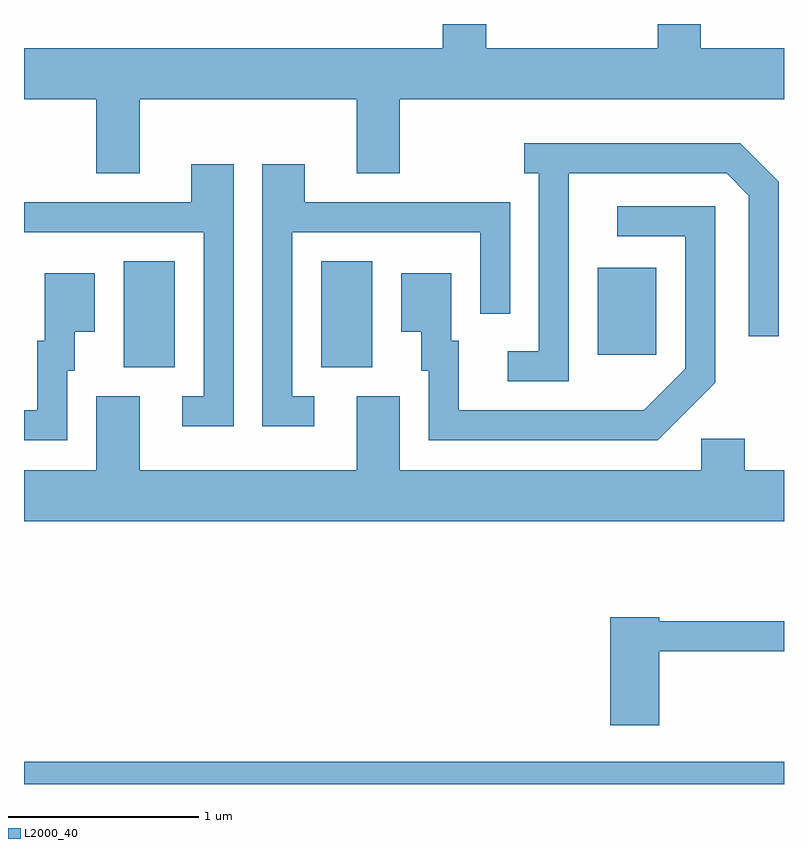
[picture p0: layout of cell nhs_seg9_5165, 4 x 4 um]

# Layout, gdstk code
import gdstk
lib = gdstk.Library(unit=1e-6, precision=1e-09)
def R(c, l, rs):  # rectangles x0, y0, x1, y1
    for r in rs: c.add(gdstk.rectangle(r[:2], r[2:], *l))
def P(c, l, *ps):  # polygons
    for p in ps: c.add(gdstk.Polygon(p, *l))
L2000_40 = (2000, 40)

nhs_seg9_5165 = lib.new_cell('nhs_seg9_5165')
R(nhs_seg9_5165, L2000_40, [(337.611,1990.432,341.611,1990.549), (338.136,1992.626,338.404,1993.184), (339.176,1992.626,339.444,1993.184), (340.631,1992.691,340.939,1993.149)])
P(nhs_seg9_5165, L2000_40, [(338.219,1994.036),(339.361,1994.036),(339.361,1993.646),(339.589,1993.646),(339.589,1994.036),(341.611,1994.036),(341.611,1994.304),(341.174,1994.304),(341.174,1994.432),(340.946,1994.432),(340.946,1994.304),(340.044,1994.304),(340.044,1994.432),(339.816,1994.432),(339.816,1994.304),(337.611,1994.304),(337.611,1994.036),(337.991,1994.036),(337.991,1993.646),(338.219,1993.646)],
  [(340.479,1993.646),(341.309,1993.646),(341.426,1993.529),(341.426,1992.788),(341.584,1992.788),(341.584,1993.602),(341.382,1993.804),(340.243,1993.804),(340.243,1993.646),(340.321,1993.646),(340.321,1992.709),(340.158,1992.709),(340.158,1992.551),(340.479,1992.551)],
  [(338.714,1993.694),(338.491,1993.694),(338.491,1993.494),(337.611,1993.494),(337.611,1993.336),(338.556,1993.336),(338.556,1992.474),(338.443,1992.474),(338.443,1992.316),(338.714,1992.316)],
  [(339.138,1992.474),(339.024,1992.474),(339.024,1993.336),(340.011,1993.336),(340.011,1992.908),(340.169,1992.908),(340.169,1993.494),(339.089,1993.494),(339.089,1993.694),(338.866,1993.694),(338.866,1992.316),(339.138,1992.316)],
  [(341.249,1992.544),(341.249,1993.474),(340.733,1993.474),(340.733,1993.316),(341.091,1993.316),(341.091,1992.617),(340.874,1992.399),(339.899,1992.399),(339.899,1992.764),(339.859,1992.764),(339.859,1993.119),(339.596,1993.119),(339.596,1992.811),(339.701,1992.811),(339.701,1992.606),(339.741,1992.606),(339.741,1992.241),(340.947,1992.241)],
  [(337.839,1992.606),(337.879,1992.606),(337.879,1992.811),(337.984,1992.811),(337.984,1993.119),(337.721,1993.119),(337.721,1992.764),(337.681,1992.764),(337.681,1992.399),(337.611,1992.399),(337.611,1992.241),(337.839,1992.241)],
  [(341.611,1992.084),(341.404,1992.084),(341.404,1992.249),(341.176,1992.249),(341.176,1992.084),(339.589,1992.084),(339.589,1992.474),(339.361,1992.474),(339.361,1992.084),(338.219,1992.084),(338.219,1992.474),(337.991,1992.474),(337.991,1992.084),(337.611,1992.084),(337.611,1991.816),(341.611,1991.816)],
  [(340.954,1991.131),(341.611,1991.131),(341.611,1991.289),(340.954,1991.289),(340.954,1991.309),(340.696,1991.309),(340.696,1990.741),(340.954,1990.741)])

lib.write_gds('nhs_seg9_5165.gds')
